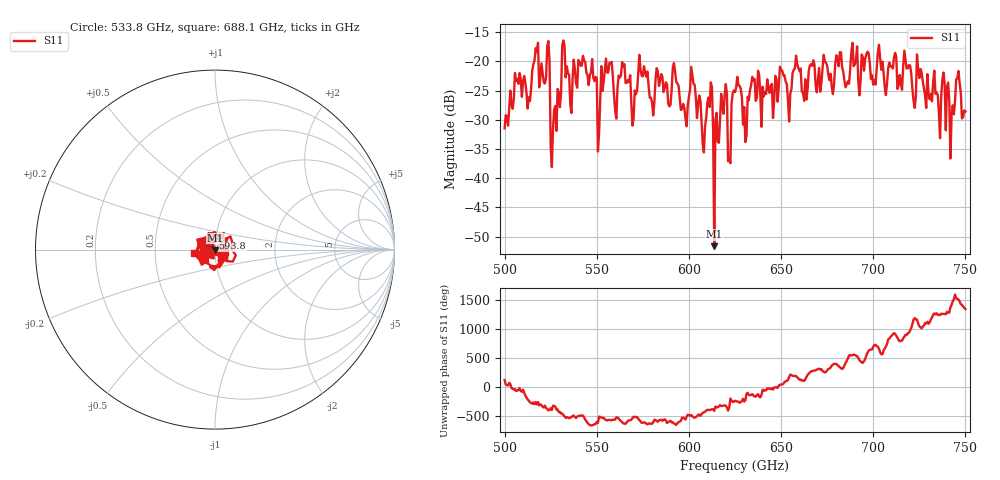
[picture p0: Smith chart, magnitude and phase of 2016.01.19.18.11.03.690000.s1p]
!Created with skrf (http://scikit-rf.org).
# GHz S RI R 50.0
!freq ReS11 ImS11
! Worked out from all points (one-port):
!   401 points, 500 GHz to 750 GHz, reference 50 ohm
!   lowest |S11| = -51.6 dB at 613.8 GHz (marker M1), VSWR 1.01, Z = 50.2 - j0.2 ohm
!   |S11| at or under -10 dB: start of sweep to end of sweep
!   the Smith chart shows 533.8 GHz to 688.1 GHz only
!   S11 on the Smith chart (normalised r, x): 533.8 GHz: 0.84, -0.06; 593.8 GHz: 0.97, +0.12; 688.1 GHz: 0.79, -0.03
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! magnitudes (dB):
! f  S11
! 500 GHz  -31.5
! 506.9 GHz  -23.0
! 513.1 GHz  -26.1
! 516.9 GHz  -17.7
! 523.1 GHz  -17.4
! 526.2 GHz  -31.7
! 531.2 GHz  -17.3
! 533.8 GHz  -20.8
! 551.9 GHz  -26.8
! 555.6 GHz  -21.9
! 562.5 GHz  -22.8
! 570 GHz  -29.7
! 593.8 GHz  -23.8
! 597.5 GHz  -27.9
! 602.5 GHz  -23.8
! 608.1 GHz  -35.6
! 611.2 GHz  -27.8
! 613.8 GHz  -51.6
! 618.8 GHz  -29.0
! 622.5 GHz  -37.4
! 625 GHz  -25.3
! 630.6 GHz  -33.8
! 634.4 GHz  -22.6
! 656.2 GHz  -21.9
! 687.5 GHz  -21.3
! 688.1 GHz  -18.4
! 718.8 GHz  -21.1
! 750 GHz  -28.6
